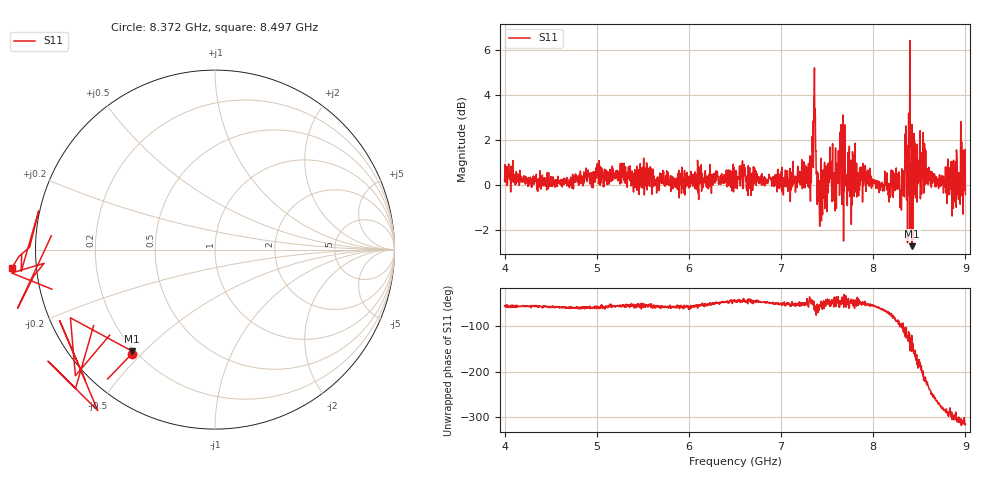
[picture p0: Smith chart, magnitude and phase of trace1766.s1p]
! Created with skrf 1.8.0 (http://scikit-rf.org).
# Hz S RI R 50.0
!freq ReS11 ImS11
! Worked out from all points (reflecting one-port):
!   1601 points, 4 GHz to 9 GHz, reference 50 ohm
!   lowest |S11| = -2.7 dB at 8.422 GHz (marker M1), VSWR 6.42, Z = 9.49 - j23 ohm
!   phase of S11 starts at -56 deg and turns -259 deg over the sweep
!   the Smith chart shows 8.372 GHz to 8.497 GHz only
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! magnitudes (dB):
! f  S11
! 4 GHz  0.1
! 4.625 GHz  -0.1
! 5.25 GHz  0.0
! 5.875 GHz  -0.2
! 6.5 GHz  0.4
! 7.125 GHz  0.0
! 7.303 GHz  0.4
! 7.328 GHz  0.1
! 7.356 GHz  3.8
! 7.381 GHz  0.5
! 7.403 GHz  -0.7
! 7.428 GHz  -0.5
! 7.512 GHz  1.0
! 7.575 GHz  0.4
! 7.647 GHz  0.6
! 7.75 GHz  0.2
! 8.253 GHz  -0.2
! 8.312 GHz  0.7
! 8.334 GHz  0.6
! 8.375 GHz  -0.6
! 8.422 GHz  -2.7
! 8.425 GHz  -1.0
! 8.459 GHz  -0.6
! 8.522 GHz  1.1
! 8.606 GHz  0.5
! 8.844 GHz  1.0
! 8.972 GHz  1.0
! 9 GHz  -0.4
